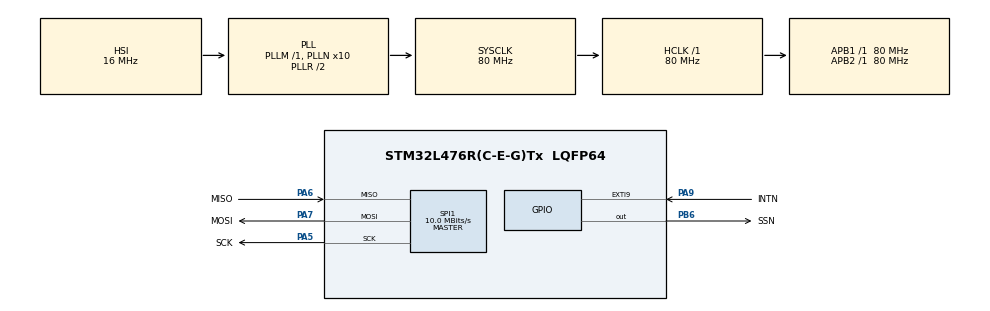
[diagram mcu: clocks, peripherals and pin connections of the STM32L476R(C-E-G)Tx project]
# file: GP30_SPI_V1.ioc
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Mcu.Family=STM32L4
Mcu.Name=STM32L476R(C-E-G)Tx
Mcu.Package=LQFP64
NVIC.EXTI9_5_IRQn=true\:0\:0\:false\:false\:true\:true\:true\:true
NVIC.PriorityGroup=NVIC_PRIORITYGROUP_4
PA13\ (JTMS-SWDIO).GPIO_Label=TMS
PA13\ (JTMS-SWDIO).Mode=Serial_Wire
PA13\ (JTMS-SWDIO).Signal=SYS_JTMS-SWDIO
PA14\ (JTCK-SWCLK).GPIO_Label=TCK
PA14\ (JTCK-SWCLK).Mode=Serial_Wire
PA14\ (JTCK-SWCLK).Signal=SYS_JTCK-SWCLK
PA5.GPIO_Label=SCK
PA5.GPIO_PuPd=GPIO_PULLDOWN
PA5.GPIO_Speed=GPIO_SPEED_FREQ_HIGH
PA5.Mode=Full_Duplex_Master
PA5.Signal=SPI1_SCK
PA6.GPIO_Label=MISO
PA6.GPIO_PuPd=GPIO_PULLDOWN
PA6.GPIO_Speed=GPIO_SPEED_FREQ_HIGH
PA6.Mode=Full_Duplex_Master
PA6.Signal=SPI1_MISO
PA7.GPIO_Label=MOSI
PA7.GPIO_PuPd=GPIO_PULLDOWN
PA7.GPIO_Speed=GPIO_SPEED_FREQ_HIGH
PA7.Mode=Full_Duplex_Master
PA7.Signal=SPI1_MOSI
PA9.GPIO_Label=INTN
PA9.GPIO_ModeDefaultEXTI=GPIO_MODE_IT_RISING_FALLING
PA9.GPIO_PuPd=GPIO_NOPULL
PA9.Signal=GPXTI9
PB3\ (JTDO-TRACESWO).GPIO_Label=SWO
PB3\ (JTDO-TRACESWO).Signal=SYS_JTDO-SWO
PB6.GPIO_FM6=__NULL
PB6.GPIO_Label=SSN
PB6.GPIO_PuPd=GPIO_PULLUP
PB6.GPIO_Speed=GPIO_SPEED_FREQ_HIGH
PB6.PinState=GPIO_PIN_SET
PB6.Signal=GPIO_Output
ProjectManager.HeapSize=0x200
ProjectManager.StackSize=0x400
ProjectManager.TargetToolchain=STM32CubeIDE
RCC.ADCFreq_Value=64000000
RCC.AHBFreq_Value=80000000
RCC.APB1Freq_Value=80000000
RCC.APB1TimFreq_Value=80000000
RCC.APB2Freq_Value=80000000
RCC.APB2TimFreq_Value=80000000
RCC.CortexFreq_Value=80000000
RCC.HCLKFreq_Value=80000000
RCC.HSE_VALUE=8000000
RCC.HSI_VALUE=16000000
RCC.LSE_VALUE=32768
RCC.MSI_VALUE=4000000
RCC.PLLN=10
RCC.PLLSourceVirtual=RCC_PLLSOURCE_HSI
RCC.PREFETCH_ENABLE=1
RCC.SYSCLKFreq_VALUE=80000000
RCC.SYSCLKSource=RCC_SYSCLKSOURCE_PLLCLK
RCC.USBFreq_Value=64000000
RCC.VCOOutputFreq_Value=160000000
SPI1.BaudRatePrescaler=SPI_BAUDRATEPRESCALER_8
SPI1.CLKPhase=SPI_PHASE_2EDGE
SPI1.CalculateBaudRate=10.0 MBits/s
SPI1.DataSize=SPI_DATASIZE_8BIT
SPI1.Direction=SPI_DIRECTION_2LINES
SPI1.Mode=SPI_MODE_MASTER
SPI1.TIMode=SPI_TIMODE_DISABLE
SPI1.VirtualType=VM_MASTER
board=NUCLEO-L476RG

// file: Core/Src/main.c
/* USER CODE BEGIN Header */
/**
  ******************************************************************************
  * @file           : main.c
  * @brief          : Main program body
  ******************************************************************************
  * @attention
  *
  * Copyright (c) 2022 STMicroelectronics.
  * All rights reserved.
  *
  * This software is licensed under terms that can be found in the LICENSE file
  * in the root directory of this software component.
  * If no LICENSE file comes with this software, it is provided AS-IS.
  *
  ******************************************************************************
  */
/* USER CODE END Header */
#include "main.h"

/* USER CODE BEGIN Includes */

#include "user_spi_interface.c"
#include "user_tools.c"

#include "GP30_Coding.h"

/* USER CODE END Includes */

SPI_HandleTypeDef hspi1;

/* USER CODE BEGIN PV */

GP30_InitTypeDef DUT; // DUT = Device Under Test

volatile uint32_t  My_INTN_Counter = 0;
volatile uint8_t   My_INTN_State = 1;

volatile uint32_t  TIMEOUT_Counter = 0;
volatile uint32_t  TIMEOUT_Limit = 10000;

volatile float     ZCD_Scaling = 900./1024;         // [mV/LSB]

volatile float     RAW_ResultUP = 0;                // RAW Value in [LSB]
volatile float     Time_ResultUP = 0;               // Result in [s]
volatile float     Time_ResultUP_ns = 0;            // Result in [ns]

volatile float     RAW_ResultDOWN = 0;              // RAW Value in [LSB]
volatile float     Time_ResultDOWN = 0;             // Result in [s]
volatile float     Time_ResultDOWN_ns = 0;          // Result in [ns]

volatile float     RAW_Result = 0;                  // RAW Value in [LSB]
volatile float     Time_Result = 0;                 // Result in [s]
volatile float     Time_Result_ns = 0;              // Result in [ns]

volatile float     RAW_CAL_Result = 0;              // RAW Value in [LSB]
volatile float     Time_CAL_Result = 0;             // Result in [s]
volatile float     Time_CAL_Result_ns = 0;          // Result in [ns]

volatile uint32_t  SRR_IRQ_FLAG;                    // Interrupt Flags
volatile uint32_t  SRR_ERR_FLAG;                    // Error Flags
volatile uint32_t  SRR_FEP_STF;                     // Frontend Processing Status Flags
volatile uint32_t  SRR_TS_TIME;                     // Task Sequencer Time

// configuration: GP30Y_DN8_config_2MHz.cfg saved on 28.04.2021 07:40
uint32_t  Reg[19] = {
		0x48DBA399, // Register 3, 2, 1, 0
		0x0034310A, // Register 7, 6, 5, 4
		0x81111144, // Register 11, 10, 9, 8
		0x10215000, // Register 15, 14, 13, 12
		0x001F03FF, // Register 19, 18, 17, 16
		0x00000A00, // Register 23, 22, 21, 20
		0x0011A080, // Register 27, 26, 25, 24
		0x00793400, // Register 31, 30, 29, 28
		0x00001424, // Register 35, 34, 33, 32
		0x03E70C81, // Register 39, 38, 37, 36
		0x00002650, // Register 43, 42, 41, 40
		0x0000D481, // Register 47, 46, 45, 44
		0x84A0C47C, // Register 51, 50, 49, 48
		0x401725CF, // Register 55, 54, 53, 52
		0x00270808, // Register 59, 58, 57, 56
		0x00000001, // SHR Register 0xD0 ; TOF RATE Lvl
		0x00000048, // SHR Register 0xDA ; 1st Hit Lvl Up
		0x00000048, // SHR Register 0xDB ; 1st Hit Lvl Dn
		0x00000000  // SHR Register 0xD8 ; Start Hit Delay Win
};

/* USER CODE END PV */

void SystemClock_Config(void);
static void MX_GPIO_Init(void);
static void MX_SPI1_Init(void);

int main(void)
{

  /* MCU Configuration--------------------------------------------------------*/

  /* Reset of all peripherals, Initializes the Flash interface and the Systick. */
  HAL_Init();

  /* Configure the system clock */
  SystemClock_Config();

  /* Initialize all configured peripherals */
  MX_GPIO_Init();
  MX_SPI1_Init();
  /* USER CODE BEGIN 2 */

  // set configuration registers

/*
  DUT.CR[0] = 0x48DBA399;
  DUT.CR[1] = 0x0034310A;
  DUT.CR[2] = 0x81111144;
  DUT.CR[3] = 0x10215000;
  DUT.CR[4] = 0x001F03FF;
  DUT.CR[5] = 0x00000A00;
  DUT.CR[6] = 0x0011A080;
  // ...etc

  GP30_Update_Param(&DUT);
*/

  GP30_Init_CFG(&DUT, Reg);

  // set new value in CR9
  //DUT.Param.CR9.FPG_FP_NO = 10;

  // update CR9 register with new parameter
  //DUT.CR[9] |= GP30_9_FPG_FP_NO_SET(DUT.Param.CR9.FPG_FP_NO);

  //GP30_Update_CFG(&DUT); // Function to update CFG!

  // Rough SPI Example for TDC-GP30 @10 MHz
  // According data sheet, SPI Frequency up to 10 MHz is possible.

  Write_Opcode(RC_SYS_RST);
  DUT.State = GP30_STATE_RESET;
  HAL_Delay(1); // Delay = 1ms              // 500 us wait for GP22

  Write_Dword(RC_RAA_WR, 0xC0, DUT.CR[0]); // disable Watchdog
  Write_Opcode(RC_MCT_OFF); // MCT OFF

  Write_Dword(RC_RAA_WR, 0xC0, DUT.CR[0]);
  Write_Dword(RC_RAA_WR, 0xC1, DUT.CR[1]);
  Write_Dword(RC_RAA_WR, 0xC2, DUT.CR[2]);
  Write_Dword(RC_RAA_WR, 0xC3, DUT.CR[3]);
  Write_Dword(RC_RAA_WR, 0xC4, DUT.CR[4]);
  Write_Dword(RC_RAA_WR, 0xC5, DUT.CR[5]);
  Write_Dword(RC_RAA_WR, 0xC6, DUT.CR[6]);
  Write_Dword(RC_RAA_WR, 0xC7, DUT.CR[7]);
  Write_Dword(RC_RAA_WR, 0xC8, DUT.CR[8]);
  Write_Dword(RC_RAA_WR, 0xC9, DUT.CR[9]);
  Write_Dword(RC_RAA_WR, 0xCA, DUT.CR[10]);
  Write_Dword(RC_RAA_WR, 0xCB, DUT.CR[11]);
  Write_Dword(RC_RAA_WR, 0xCC, DUT.CR[12]);
  Write_Dword(RC_RAA_WR, 0xCD, DUT.CR[13]);
  Write_Dword(RC_RAA_WR, 0xCE, DUT.CR[14]);
  Write_Dword(RC_RAA_WR, 0xD0, DUT.CR[15]);
  Write_Dword(RC_RAA_WR, 0xDA, DUT.CR[16]);
  Write_Dword(RC_RAA_WR, 0xDB, DUT.CR[17]);
  Write_Dword(RC_RAA_WR, 0xD8, DUT.CR[18]);
  //Write_Dword(RC_RAA_WR, 0xDE, DUT.CR[19]);

  // Work Around to provide results from start on
  // Set Zero Cross Detection Level, e.g. 700[mV] / 0.88[mV/LSB]
  Write_Dword(RC_RAA_WR, 0xD9, (700/ZCD_Scaling));

  Write_Opcode(RC_MCT_ON); // MCT ON

  // Work Around after RC_MCT_ON if no TIMEOUT is used
  // to prevent EF_TSQ_TMO: Error Flag Task Sequencer Timeout
  Delay_100us(1);                    // to run into timeout
  Write_Dword(RC_RAA_WR, 0xDD, 0x7); // clearing ERROR Flag

  DUT.State = GP30_STATE_READY;

  /*
  Write_Opcode(RC_FEP_INIT);  // MCT is still off
  Write_Opcode(RC_SV_INIT);   // MCT is still off
  Write_Opcode(RC_CPU_INIT);  // MCT is still off
  Write_Opcode(RC_SYS_INIT);  // Configuration is reloaded from NVRAM immediately, MCT is running
  Write_Opcode(RC_SYS_RST);   // Resets the whole chip including configuration, like switching on the power supply
  */

  //--------------------------------------------------------------------------

  /* USER CODE END 2 */

  /* Infinite loop */
  while (1)
  {

    /* USER CODE BEGIN 3 */

	  while ( (My_INTN_State == 0) || (TIMEOUT_Counter > TIMEOUT_Limit) ) {

		  if (TIMEOUT_Counter > TIMEOUT_Limit) {
			  TIMEOUT_Counter = 0;
			  Write_Dword(RC_RAA_WR, 0xDD, 0x7);
		  }

		  // Simple example source code, Time Conversion Mode
		  // Calculating diffTOF by reading sumTOF for UP stream and DOWN stream.

		  // Read Flag Registers
		  SRR_IRQ_FLAG = Read_Dword(RC_RAA_RD, 0xE0);  //Interrupt Flags
		  SRR_ERR_FLAG = Read_Dword(RC_RAA_RD, 0xE1);  //Error Flags
		  SRR_FEP_STF  = Read_Dword(RC_RAA_RD, 0xE2);  //Frontend Processing Status Flags
		  SRR_TS_TIME  = Read_Dword(RC_RAA_RD, 0xE9);  //Task Sequencer Time

		  // Check SRR_IRQ_FLAG, SRR_ERR_FLAG, TS_TIME
		  if ((SRR_TS_TIME > 20) && ((SRR_ERR_FLAG&0x3FF) == 0) && ((SRR_IRQ_FLAG&0x1) == 1)) {

			  RAW_Result = Read_Dword(RC_RAA_RD, 0xD9);
			  RAW_CAL_Result = RAW_Result * ZCD_Scaling; //0.88;
			  //Plausibility Check: 600 < RAW_CAL_Result > 800
			  if (RAW_CAL_Result < 600) { RAW_CAL_Result = 700; }

			  // Calculating difference of sumTOF
			  // without any ERROR handling and without reviewing FEP

			  if ( (Read_Dword(RC_RAA_RD, 0xE2) & 0x60) > 0) {
				  RAW_ResultUP = Read_Dword(RC_RAA_RD, 0x80);
				  RAW_ResultUP /= MyPower(16);
				  Time_ResultUP = RAW_ResultUP * (1./4000000);
				  Time_ResultUP_ns = TIME_ns(Time_ResultUP);

				  Time_ResultUP_ns /= DUT.Param.CR10.TOF_HIT_NO;

				  RAW_ResultDOWN = Read_Dword(RC_RAA_RD, 0x84);
				  RAW_ResultDOWN /= MyPower(16);
				  Time_ResultDOWN = RAW_ResultDOWN * (1./4000000);
				  Time_ResultDOWN_ns = TIME_ns(Time_ResultDOWN);

				  Time_ResultDOWN_ns /= DUT.Param.CR10.TOF_HIT_NO;

				  Time_Result_ns = Time_ResultDOWN_ns - Time_ResultUP_ns;

				  // Clear interrupt flag, error flag & frontend status
				  // flag register by writing code to SHR_EXC
				  TIMEOUT_Counter = 0;
				  Write_Dword(RC_RAA_WR, 0xDD, 0x7);

			  }

		  }

		  TIMEOUT_Counter++;
	  }

  }
  /* USER CODE END 3 */
}

void SystemClock_Config(void)
{
  RCC_OscInitTypeDef RCC_OscInitStruct = {0};
  RCC_ClkInitTypeDef RCC_ClkInitStruct = {0};

  /** Configure the main internal regulator output voltage
  */
  if (HAL_PWREx_ControlVoltageScaling(PWR_REGULATOR_VOLTAGE_SCALE1) != HAL_OK)
  {
    Error_Handler();
  }

  /** Initializes the RCC Oscillators according to the specified parameters
  * in the RCC_OscInitTypeDef structure.
  */
  RCC_OscInitStruct.OscillatorType = RCC_OSCILLATORTYPE_HSI;
  RCC_OscInitStruct.HSIState = RCC_HSI_ON;
  RCC_OscInitStruct.HSICalibrationValue = RCC_HSICALIBRATION_DEFAULT;
  RCC_OscInitStruct.PLL.PLLState = RCC_PLL_ON;
  RCC_OscInitStruct.PLL.PLLSource = RCC_PLLSOURCE_HSI;
  RCC_OscInitStruct.PLL.PLLM = 1;
  RCC_OscInitStruct.PLL.PLLN = 10;
  RCC_OscInitStruct.PLL.PLLP = RCC_PLLP_DIV7;
  RCC_OscInitStruct.PLL.PLLQ = RCC_PLLQ_DIV2;
  RCC_OscInitStruct.PLL.PLLR = RCC_PLLR_DIV2;
  if (HAL_RCC_OscConfig(&RCC_OscInitStruct) != HAL_OK)
  {
    Error_Handler();
  }

  /** Initializes the CPU, AHB and APB buses clocks
  */
  RCC_ClkInitStruct.ClockType = RCC_CLOCKTYPE_HCLK|RCC_CLOCKTYPE_SYSCLK
                              |RCC_CLOCKTYPE_PCLK1|RCC_CLOCKTYPE_PCLK2;
  RCC_ClkInitStruct.SYSCLKSource = RCC_SYSCLKSOURCE_PLLCLK;
  RCC_ClkInitStruct.AHBCLKDivider = RCC_SYSCLK_DIV1;
  RCC_ClkInitStruct.APB1CLKDivider = RCC_HCLK_DIV1;
  RCC_ClkInitStruct.APB2CLKDivider = RCC_HCLK_DIV1;

  if (HAL_RCC_ClockConfig(&RCC_ClkInitStruct, FLASH_LATENCY_4) != HAL_OK)
  {
    Error_Handler();
  }
}

static void MX_SPI1_Init(void)
{

  /* SPI1 parameter configuration*/
  hspi1.Instance = SPI1;
  hspi1.Init.Mode = SPI_MODE_MASTER;
  hspi1.Init.Direction = SPI_DIRECTION_2LINES;
  hspi1.Init.DataSize = SPI_DATASIZE_8BIT;
  hspi1.Init.CLKPolarity = SPI_POLARITY_LOW;
  hspi1.Init.CLKPhase = SPI_PHASE_2EDGE;
  hspi1.Init.NSS = SPI_NSS_SOFT;
  hspi1.Init.BaudRatePrescaler = SPI_BAUDRATEPRESCALER_8;
  hspi1.Init.FirstBit = SPI_FIRSTBIT_MSB;
  hspi1.Init.TIMode = SPI_TIMODE_DISABLE;
  hspi1.Init.CRCCalculation = SPI_CRCCALCULATION_DISABLE;
  hspi1.Init.CRCPolynomial = 7;
  hspi1.Init.CRCLength = SPI_CRC_LENGTH_DATASIZE;
  hspi1.Init.NSSPMode = SPI_NSS_PULSE_DISABLE;
  if (HAL_SPI_Init(&hspi1) != HAL_OK)
  {
    Error_Handler();
  }

}

static void MX_GPIO_Init(void)
{
  GPIO_InitTypeDef GPIO_InitStruct = {0};

  /* GPIO Ports Clock Enable */
  __HAL_RCC_GPIOA_CLK_ENABLE();
  __HAL_RCC_GPIOB_CLK_ENABLE();

  /*Configure GPIO pin Output Level */
  HAL_GPIO_WritePin(SSN_GPIO_Port, SSN_Pin, GPIO_PIN_SET);

  /*Configure GPIO pin : INTN_Pin */
  GPIO_InitStruct.Pin = INTN_Pin;
  GPIO_InitStruct.Mode = GPIO_MODE_IT_RISING_FALLING;
  GPIO_InitStruct.Pull = GPIO_NOPULL;
  HAL_GPIO_Init(INTN_GPIO_Port, &GPIO_InitStruct);

  /*Configure GPIO pin : SSN_Pin */
  GPIO_InitStruct.Pin = SSN_Pin;
  GPIO_InitStruct.Mode = GPIO_MODE_OUTPUT_PP;
  GPIO_InitStruct.Pull = GPIO_PULLUP;
  GPIO_InitStruct.Speed = GPIO_SPEED_FREQ_HIGH;
  HAL_GPIO_Init(SSN_GPIO_Port, &GPIO_InitStruct);

  /* EXTI interrupt init*/
  HAL_NVIC_SetPriority(EXTI9_5_IRQn, 0, 0);
  HAL_NVIC_EnableIRQ(EXTI9_5_IRQn);

}

/* USER CODE BEGIN 4 */

void HAL_GPIO_EXTI_Callback(uint16_t GPIO_Pin)
{
	/* stm32l4xx_hal_gpio.c */

	/* Prevent unused argument(s) compilation warning */
	UNUSED(GPIO_Pin);

	// Note: It takes about 1us after INTN

	if (GPIO_Pin == INTN_Pin) {
		My_INTN_State = (HAL_GPIO_ReadPin(INTN_GPIO_Port, INTN_Pin) == GPIO_PIN_SET); /* low active */
		if (My_INTN_State == 0) {
			My_INTN_Counter += 1;
		}
	}

}

/* USER CODE END 4 */

void Error_Handler(void)
{
  __disable_irq();
  while (1)
  {
  }
}
